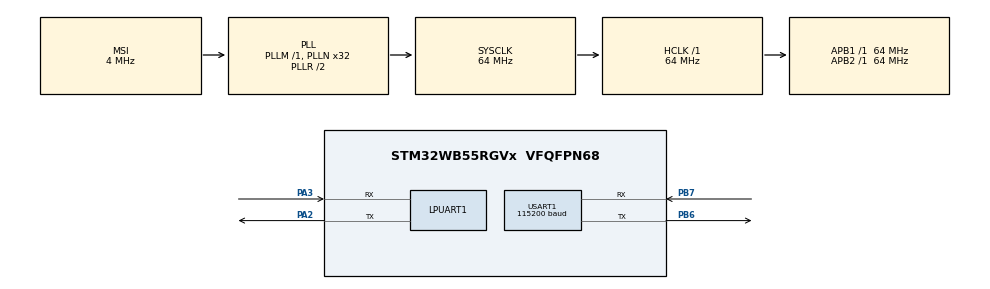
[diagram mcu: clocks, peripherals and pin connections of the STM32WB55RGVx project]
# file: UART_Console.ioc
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Mcu.Family=STM32WB
Mcu.Name=STM32WB55RGVx
Mcu.Package=VFQFPN68
NVIC.PriorityGroup=NVIC_PRIORITYGROUP_4
NVIC.USART1_IRQn=true\:0\:0\:false\:false\:true\:true\:true
PA2.Mode=Asynchronous
PA2.Signal=LPUART1_TX
PA3.Mode=Asynchronous
PA3.Signal=LPUART1_RX
PB6.GPIO_PuPd=GPIO_PULLUP
PB6.Mode=Asynchronous
PB6.Signal=USART1_TX
PB7.GPIO_PuPd=GPIO_PULLUP
PB7.Mode=Asynchronous
PB7.Signal=USART1_RX
ProjectManager.HeapSize=0x200
ProjectManager.StackSize=0x400
ProjectManager.TargetToolchain=STM32CubeIDE
RCC.ADCFreq_Value=16000000
RCC.AHB2CLKDivider=RCC_SYSCLK_DIV2
RCC.AHBFreq_Value=64000000
RCC.APB1Freq_Value=64000000
RCC.APB1TimFreq_Value=64000000
RCC.APB2Freq_Value=64000000
RCC.APB2TimFreq_Value=64000000
RCC.APB3Freq_Value=16000000
RCC.CodegenConfigPeriph=false
RCC.CortexFreq_Value=64000000
RCC.HCLKFreq_Value=64000000
RCC.HSE_VALUE=8000000
RCC.HSI48_VALUE=48000000
RCC.HSI_VALUE=16000000
RCC.LSE_VALUE=32768
RCC.MSI_VALUE=4000000
RCC.PLLN=32
RCC.PLLP=RCC_PLLP_DIV5
RCC.PLLQ=4
RCC.SYSCLKFreq_VALUE=64000000
RCC.SYSCLKSource=RCC_SYSCLKSOURCE_PLLCLK
RCC.USBFreq_Value=16000000
RCC.VCOOutputFreq_Value=128000000
USART1.AutoBaudRateEnableParam=UART_ADVFEATURE_AUTOBAUDRATE_DISABLE
USART1.BaudRate=115200
USART1.ClockPrescaler=PRESCALER_DIV1
USART1.DMADisableonRxErrorParam=ADVFEATURE_DMA_ENABLEONRXERROR
USART1.DataInvertParam=ADVFEATURE_DATAINV_DISABLE
USART1.FIFOMode=FIFOMODE_DISABLE
USART1.MSBFirstParam=ADVFEATURE_MSBFIRST_DISABLE
USART1.Mode=MODE_TX_RX
USART1.OneBitSampling=UART_ONE_BIT_SAMPLE_DISABLE
USART1.OverSampling=UART_OVERSAMPLING_16
USART1.OverrunDisableParam=ADVFEATURE_OVERRUN_ENABLE
USART1.Parity=PARITY_ODD
USART1.RXFIFOThreshold=RXFIFO_THRESHOLD_1EIGHTHFULL
USART1.RxPinLevelInvertParam=ADVFEATURE_RXINV_DISABLE
USART1.StopBits=STOPBITS_1
USART1.SwapParam=ADVFEATURE_SWAP_DISABLE
USART1.TXFIFOThreshold=TXFIFO_THRESHOLD_1EIGHTHFULL
USART1.TxPinLevelInvertParam=ADVFEATURE_TXINV_DISABLE
USART1.VirtualMode-Asynchronous=VM_ASYNC
USART1.WordLength=WORDLENGTH_8B
board=custom

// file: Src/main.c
/* USER CODE BEGIN Header */
/**
  ******************************************************************************
  * @file    main.c
  * @brief   This example shows how to retarget the C library printf/getchar functions
  *          to the UART.
  ******************************************************************************
  * @attention
  *
  * <h2><center>&copy; Copyright (c) 2020 STMicroelectronics.
  * All rights reserved.</center></h2>
  *
  * This software component is licensed by ST under BSD 3-Clause license,
  * the "License"; You may not use this file except in compliance with the
  * License. You may obtain a copy of the License at:
  *                        opensource.org/licenses/BSD-3-Clause
  *
  ******************************************************************************
  */
/* USER CODE END Header */
#include "main.h"

UART_HandleTypeDef hlpuart1;
UART_HandleTypeDef huart1;

void SystemClock_Config(void);
static void MX_GPIO_Init(void);
static void MX_USART1_UART_Init(void);
static void MX_LPUART1_UART_Init(void);
/* USER CODE BEGIN PFP */
#if defined (__ICCARM__) || defined (__ARMCC_VERSION)
#define PUTCHAR_PROTOTYPE int fputc(int ch, FILE *f)
#define GETCHAR_PROTOTYPE int fgetc(FILE *f)
#elif defined(__GNUC__)
#define PUTCHAR_PROTOTYPE int __io_putchar(int ch)
#define GETCHAR_PROTOTYPE int __io_getchar(void)

GETCHAR_PROTOTYPE;
#endif /* __ICCARM__ || __ARMCC_VERSION */
/* USER CODE END PFP */

int main(void)
{
  /* USER CODE BEGIN 1 */

  /* STM32WBxx HAL library initialization:
       - Configure the Flash prefetch
       - Systick timer is configured by default as source of time base, but user
         can eventually implement his proper time base source (a general purpose
         timer for example or other time source), keeping in mind that Time base
         duration should be kept 1ms since PPP_TIMEOUT_VALUEs are defined and
         handled in milliseconds basis.
       - Set NVIC Group Priority to 4
       - Low Level Initialization
     */
  /* USER CODE END 1 */

  /* MCU Configuration--------------------------------------------------------*/

  /* Reset of all peripherals, Initializes the Flash interface and the Systick. */
  HAL_Init();

  /* Configure the system clock */
  SystemClock_Config();

  /* USER CODE BEGIN SysInit */
  /* Initialize BSP Led for LED3 */
  BSP_LED_Init(LED3);
  /* USER CODE END SysInit */

  /* Initialize all configured peripherals */
  MX_GPIO_Init();
  MX_USART1_UART_Init();
  MX_LPUART1_UART_Init();
  ATOMIC_SET_BIT(USART1->CR1, USART_CR1_RXNEIE_RXFNEIE);
  /* USER CODE BEGIN 2 */

  /* Output a message on Hyperterminal using printf function */
  printf("\n\r UART Printf Example: retarget the C library printf function to the UART\n\r");
  printf("** This message is printed using printf() function. ** \n\r");

  /* User is prompted to enter characters on terminal input.
     Entered characters are echoed on terminal output until a CR character is entered */
  printf("\n\r UART Getchar Example: retarget UART input to the C library getchar function\n\r");
  printf("Enter a string then press ENTER \n\r");
  fflush (stdout);

  uint8_t receivedchar;
  receivedchar= ' ';
  while(receivedchar!= '\n' && receivedchar != '\r')
  {
#if defined (__ICCARM__) || defined (__ARMCC_VERSION)
	receivedchar = fgetc(stdin);
#elif defined(__GNUC__)
	receivedchar = __io_getchar();
#endif /* __ICCARM__ || __ARMCC_VERSION */
  }

  /* End of example */
  printf("\n\rEnd of example\n\r");
  fflush (stdout);

  /* USER CODE END 2 */

  /* Infinite loop */
  while (1)
  {

  }
}

void SystemClock_Config(void)
{
  RCC_OscInitTypeDef RCC_OscInitStruct = {0};
  RCC_ClkInitTypeDef RCC_ClkInitStruct = {0};

  /** Initializes the RCC Oscillators according to the specified parameters
  * in the RCC_OscInitTypeDef structure.
  */
  RCC_OscInitStruct.OscillatorType = RCC_OSCILLATORTYPE_MSI;
  RCC_OscInitStruct.MSIState = RCC_MSI_ON;
  RCC_OscInitStruct.MSICalibrationValue = RCC_MSICALIBRATION_DEFAULT;
  RCC_OscInitStruct.MSIClockRange = RCC_MSIRANGE_6;
  RCC_OscInitStruct.PLL.PLLState = RCC_PLL_ON;
  RCC_OscInitStruct.PLL.PLLSource = RCC_PLLSOURCE_MSI;
  RCC_OscInitStruct.PLL.PLLM = RCC_PLLM_DIV1;
  RCC_OscInitStruct.PLL.PLLN = 32;
  RCC_OscInitStruct.PLL.PLLP = RCC_PLLP_DIV5;
  RCC_OscInitStruct.PLL.PLLR = RCC_PLLR_DIV2;
  RCC_OscInitStruct.PLL.PLLQ = 4;
  if (HAL_RCC_OscConfig(&RCC_OscInitStruct) != HAL_OK)
  {
    Error_Handler();
  }
  /** Configure the SYSCLKSource, HCLK, PCLK1 and PCLK2 clocks dividers
  */
  RCC_ClkInitStruct.ClockType = RCC_CLOCKTYPE_HCLK4|RCC_CLOCKTYPE_HCLK2
                              |RCC_CLOCKTYPE_HCLK|RCC_CLOCKTYPE_SYSCLK
                              |RCC_CLOCKTYPE_PCLK1|RCC_CLOCKTYPE_PCLK2;
  RCC_ClkInitStruct.SYSCLKSource = RCC_SYSCLKSOURCE_PLLCLK;
  RCC_ClkInitStruct.AHBCLKDivider = RCC_SYSCLK_DIV1;
  RCC_ClkInitStruct.APB1CLKDivider = RCC_HCLK_DIV1;
  RCC_ClkInitStruct.APB2CLKDivider = RCC_HCLK_DIV1;
  RCC_ClkInitStruct.AHBCLK2Divider = RCC_SYSCLK_DIV2;
  RCC_ClkInitStruct.AHBCLK4Divider = RCC_SYSCLK_DIV1;

  if (HAL_RCC_ClockConfig(&RCC_ClkInitStruct, FLASH_LATENCY_3) != HAL_OK)
  {
    Error_Handler();
  }
  /** Initializes the peripherals clocks
  */
}

static void MX_LPUART1_UART_Init(void)
{

  hlpuart1.Instance = LPUART1;
  hlpuart1.Init.BaudRate = 209700;
  hlpuart1.Init.WordLength = UART_WORDLENGTH_8B;
  hlpuart1.Init.StopBits = UART_STOPBITS_1;
  hlpuart1.Init.Parity = UART_PARITY_NONE;
  hlpuart1.Init.Mode = UART_MODE_TX_RX;
  hlpuart1.Init.HwFlowCtl = UART_HWCONTROL_NONE;
  hlpuart1.Init.OneBitSampling = UART_ONE_BIT_SAMPLE_DISABLE;
  hlpuart1.Init.ClockPrescaler = UART_PRESCALER_DIV1;
  hlpuart1.AdvancedInit.AdvFeatureInit = UART_ADVFEATURE_NO_INIT;
  hlpuart1.FifoMode = UART_FIFOMODE_DISABLE;
  if (HAL_UART_Init(&hlpuart1) != HAL_OK)
  {
    Error_Handler();
  }
  if (HAL_UARTEx_SetTxFifoThreshold(&hlpuart1, UART_TXFIFO_THRESHOLD_1_8) != HAL_OK)
  {
    Error_Handler();
  }
  if (HAL_UARTEx_SetRxFifoThreshold(&hlpuart1, UART_RXFIFO_THRESHOLD_1_8) != HAL_OK)
  {
    Error_Handler();
  }
  if (HAL_UARTEx_DisableFifoMode(&hlpuart1) != HAL_OK)
  {
    Error_Handler();
  }

}

static void MX_USART1_UART_Init(void)
{

  huart1.Instance = USART1;
  huart1.Init.BaudRate = 115200;
  huart1.Init.WordLength = UART_WORDLENGTH_8B;
  huart1.Init.StopBits = UART_STOPBITS_1;
  huart1.Init.Parity = UART_PARITY_ODD;
  huart1.Init.Mode = UART_MODE_TX_RX;
  huart1.Init.HwFlowCtl = UART_HWCONTROL_NONE;
  huart1.Init.OverSampling = UART_OVERSAMPLING_16;
  huart1.Init.OneBitSampling = UART_ONE_BIT_SAMPLE_DISABLE;
  huart1.Init.ClockPrescaler = UART_PRESCALER_DIV1;
  huart1.AdvancedInit.AdvFeatureInit = UART_ADVFEATURE_NO_INIT;
  if (HAL_UART_Init(&huart1) != HAL_OK)
  {
    Error_Handler();
  }
  if (HAL_UARTEx_SetTxFifoThreshold(&huart1, UART_TXFIFO_THRESHOLD_1_8) != HAL_OK)
  {
    Error_Handler();
  }
  if (HAL_UARTEx_SetRxFifoThreshold(&huart1, UART_RXFIFO_THRESHOLD_1_8) != HAL_OK)
  {
    Error_Handler();
  }
  if (HAL_UARTEx_DisableFifoMode(&huart1) != HAL_OK)
  {
    Error_Handler();
  }

}

static void MX_GPIO_Init(void)
{

  /* GPIO Ports Clock Enable */
  __HAL_RCC_GPIOA_CLK_ENABLE();
  __HAL_RCC_GPIOB_CLK_ENABLE();

}

/* USER CODE BEGIN 4 */
/**
  * @brief  Retargets the C library printf function to the USART.
  * @param  None
  * @retval None
  */
PUTCHAR_PROTOTYPE
{
  /* Place your implementation of fputc here */
  /* e.g. write a character to the USART1 and Loop until the end of transmission */
  HAL_UART_Transmit(&hlpuart1, (uint8_t *)&ch, 1, 0xFFFF);

  return ch;
}

GETCHAR_PROTOTYPE
{
  uint8_t ch = 0;
  /* Place your implementation of fgetc here */

  /* Clear the Overrun flag just before receiving the first character */
  __HAL_UART_CLEAR_OREFLAG(&hlpuart1);

  /* Wait for reception of a character on the USART1 RX line
     and echo this character on console */
  HAL_UART_Receive(&hlpuart1, (uint8_t *)&ch, 1, 0xFFFF);
  HAL_UART_Transmit(&huart1, (uint8_t *)&ch, 1, 0xFFFF);
  return ch;
}

/* USER CODE END 4 */

void Error_Handler(void)
{
  /* USER CODE BEGIN Error_Handler_Debug */
  /* User can add his own implementation to report the HAL error return state */
  /* Turn LED3 on */
  BSP_LED_On(LED3);
  while (1);
  /* USER CODE END Error_Handler_Debug */
}

/************************ (C) COPYRIGHT STMicroelectronics *****END OF FILE****/
